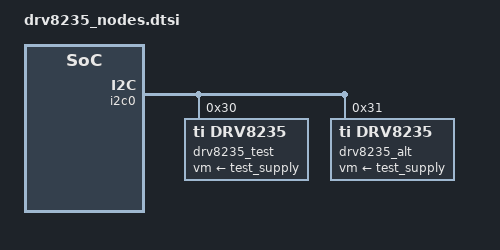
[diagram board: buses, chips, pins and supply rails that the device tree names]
/* SPDX-License-Identifier: Apache-2.0 */
/ {
	fake_regulators {
		compatible = "zephyr,fake-regulator";
		test_supply: supply {
			regulator-name = "coil-test";
		};
	};
};

&i2c0 {
	drv8235_test: drv8235@30 {
		compatible = "ti,drv8235";
		reg = <0x30>;
		vm-supply = <&test_supply>;
		max-output-microvolt = <6000000>;
		coil-resistance-milliohm = <25000>;
		status = "okay";
	};
	/* Different values prove these fields are read per device, not hardcoded. */
	drv8235_alt: drv8235@31 {
		compatible = "ti,drv8235";
		reg = <0x31>;
		vm-supply = <&test_supply>;
		max-output-microvolt = <3000000>;
		coil-resistance-milliohm = <50000>;
		imtr-full-scale-microamp = <1920000>;
		status = "okay";
	};
};
